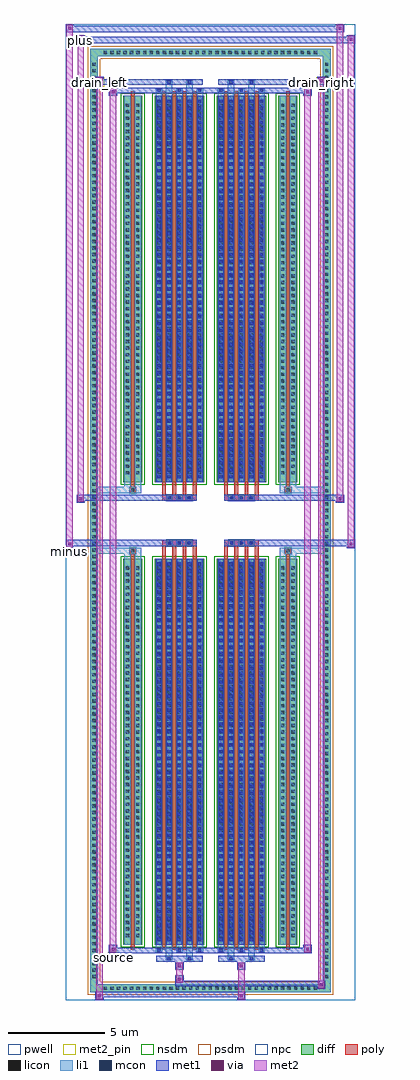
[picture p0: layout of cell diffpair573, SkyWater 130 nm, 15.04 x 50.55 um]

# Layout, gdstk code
import gdstk
lib = gdstk.Library(unit=1e-6, precision=5e-09)
def R(c, l, rs):  # rectangles x0, y0, x1, y1
    for r in rs: c.add(gdstk.rectangle(r[:2], r[2:], *l))
def A(c, l, x, y, w, h, nx, ny, dx, dy):  # array of equal rectangles
    R(c, l, [(x+i*dx, y+j*dy, x+i*dx+w, y+j*dy+h) for i in range(nx) for j in range(ny)])
def P(c, l, *ps):  # polygons
    for p in ps: c.add(gdstk.Polygon(p, *l))
pwell = (64, 44)
diff = (65, 20)
poly = (66, 20)
licon = (66, 44)
li1 = (67, 20)
mcon = (67, 44)
met1 = (68, 20)
via = (68, 44)
met2_pin = (69, 16)
met2 = (69, 20)
nsdm = (93, 44)
psdm = (94, 20)
npc = (95, 20)

diffpair573 = lib.new_cell('diffpair573')
R(diffpair573, pwell, [(-7.5,-24.84,7.5,25.71), (-4.82,-23.03,-0.01,-0.805), (0.01,-23.03,4.82,-0.805), (-4.82,0.805,-0.01,23.03), (0.01,0.805,4.82,23.03)])
A(diffpair573, diff, -5.645, -24.44, 0.41, 0.41, 33, 2, 0.34, 48.47)
A(diffpair573, diff, -6.23, -23.835, 0.41, 0.41, 1, 140, 0, 0.34)
A(diffpair573, diff, 5.82, -23.835, 0.41, 0.41, 1, 140, 0, 0.34)
R(diffpair573, diff, [(-5.645,-24.44,5.645,-24.03), (-6.23,-23.835,-5.82,23.835), (5.82,-23.835,6.23,23.835), (-4.51,-21.985,-3.53,-1.985), (-2.89,-21.985,-0.32,-1.985), (0.32,-21.985,2.89,-1.985), (3.53,-21.985,4.51,-1.985), (-4.51,1.985,-3.53,21.985), (-2.89,1.985,-0.32,21.985), (0.32,1.985,2.89,21.985), (3.53,1.985,4.51,21.985), (-5.645,24.03,5.645,24.44)])
P(diffpair573, diff, [(6.23,24.44),(-6.23,24.44),(-6.23,-24.03),(-5.82,-24.03),(-5.82,24.03),(5.82,24.03),(5.82,-24.03),(-5.82,-24.03),(-6.23,-24.03),(-6.23,-24.44),(6.23,-24.44)])
A(diffpair573, poly, -2.5, -22.235, 0.2, 20.5, 4, 2, 0.53, 23.97)
A(diffpair573, poly, 0.71, -22.235, 0.2, 20.5, 4, 2, 0.53, 23.97)
A(diffpair573, poly, -2.5, -1.735, 0.2, 0.4, 4, 2, 0.53, 3.07)
A(diffpair573, poly, 0.71, -1.735, 0.2, 0.4, 4, 2, 0.53, 3.07)
A(diffpair573, poly, -2.27, -1.335, 0.33, 0.33, 3, 2, 0.5, 2.34)
A(diffpair573, poly, 0.94, -1.335, 0.33, 0.33, 3, 2, 0.5, 2.34)
R(diffpair573, poly, [(-4.12,-22.235,-3.92,-1.735), (3.92,-22.235,4.12,-1.735), (-4.185,-1.735,-3.855,-1.405), (-4.185,-1.735,-3.855,-1.405), (3.855,-1.735,4.185,-1.405), (3.855,-1.735,4.185,-1.405), (-2.5,-1.335,-0.71,-1.005), (0.71,-1.335,2.5,-1.005), (-2.5,1.005,-0.71,1.335), (0.71,1.005,2.5,1.335), (-4.185,1.405,-3.855,1.735), (-4.185,1.405,-3.855,1.735), (3.855,1.405,4.185,1.735), (3.855,1.405,4.185,1.735), (-4.12,1.735,-3.92,22.235), (3.92,1.735,4.12,22.235)])
A(diffpair573, licon, -5.525, -24.32, 0.17, 0.17, 33, 2, 0.34, 48.47)
A(diffpair573, licon, -6.11, -23.715, 0.17, 0.17, 1, 140, 0, 0.34)
A(diffpair573, licon, 5.94, -23.715, 0.17, 0.17, 1, 140, 0, 0.34)
A(diffpair573, licon, -4.37, -21.59, 0.17, 0.17, 1, 57, 0, 0.34)
A(diffpair573, licon, -3.84, -21.59, 0.17, 0.17, 1, 57, 0, 0.34)
A(diffpair573, licon, -2.75, -21.59, 0.17, 0.17, 5, 57, 0.53, 0.34)
A(diffpair573, licon, 0.46, -21.59, 0.17, 0.17, 5, 57, 0.53, 0.34)
A(diffpair573, licon, 3.67, -21.59, 0.17, 0.17, 1, 57, 0, 0.34)
A(diffpair573, licon, 4.2, -21.59, 0.17, 0.17, 1, 57, 0, 0.34)
A(diffpair573, licon, -2.19, -1.255, 0.17, 0.17, 3, 2, 0.5, 2.34)
A(diffpair573, licon, 1.02, -1.255, 0.17, 0.17, 3, 2, 0.5, 2.34)
A(diffpair573, licon, -4.37, 2.38, 0.17, 0.17, 1, 57, 0, 0.34)
A(diffpair573, licon, -3.84, 2.38, 0.17, 0.17, 1, 57, 0, 0.34)
A(diffpair573, licon, -2.75, 2.38, 0.17, 0.17, 5, 57, 0.53, 0.34)
A(diffpair573, licon, 0.46, 2.38, 0.17, 0.17, 5, 57, 0.53, 0.34)
A(diffpair573, licon, 3.67, 2.38, 0.17, 0.17, 1, 57, 0, 0.34)
A(diffpair573, licon, 4.2, 2.38, 0.17, 0.17, 1, 57, 0, 0.34)
R(diffpair573, licon, [(-4.105,-1.655,-3.935,-1.485), (3.935,-1.655,4.105,-1.485), (-4.105,1.485,-3.935,1.655), (3.935,1.485,4.105,1.655)])
A(diffpair573, li1, -5.605, -24.4, 0.33, 0.33, 33, 2, 0.34, 48.47)
A(diffpair573, li1, -6.19, -23.795, 0.33, 0.33, 1, 140, 0, 0.34)
A(diffpair573, li1, 5.86, -23.795, 0.33, 0.33, 1, 140, 0, 0.34)
A(diffpair573, li1, -2.83, -22.36, 0.33, 0.375, 3, 2, 1.06, 44.345)
A(diffpair573, li1, -2.75, -22.36, 0.17, 0.17, 3, 2, 1.06, 44.55)
A(diffpair573, li1, 0.38, -22.36, 0.33, 0.375, 3, 2, 1.06, 44.345)
A(diffpair573, li1, 0.46, -22.36, 0.17, 0.17, 3, 2, 1.06, 44.55)
A(diffpair573, li1, -2.83, -21.985, 0.33, 20, 5, 2, 0.53, 23.97)
A(diffpair573, li1, 0.38, -21.985, 0.33, 20, 5, 2, 0.53, 23.97)
A(diffpair573, li1, -2.75, -21.79, 0.17, 0.17, 5, 55, 0.53, 0.36)
A(diffpair573, li1, -2.75, -21.79, 0.17, 19.61, 5, 2, 0.53, 23.97)
A(diffpair573, li1, 0.46, -21.79, 0.17, 0.17, 5, 55, 0.53, 0.36)
A(diffpair573, li1, 0.46, -21.79, 0.17, 19.61, 5, 2, 0.53, 23.97)
A(diffpair573, li1, -4.45, -21.67, 0.33, 0.33, 1, 57, 0, 0.34)
A(diffpair573, li1, -3.92, -21.67, 0.33, 0.33, 1, 57, 0, 0.34)
A(diffpair573, li1, -2.83, -21.67, 0.33, 0.33, 5, 57, 0.53, 0.34)
A(diffpair573, li1, 0.38, -21.67, 0.33, 0.33, 5, 57, 0.53, 0.34)
A(diffpair573, li1, 3.59, -21.67, 0.33, 0.33, 1, 57, 0, 0.34)
A(diffpair573, li1, 4.12, -21.67, 0.33, 0.33, 1, 57, 0, 0.34)
A(diffpair573, li1, -2.27, -1.335, 0.33, 0.33, 3, 2, 0.5, 2.34)
A(diffpair573, li1, 0.94, -1.335, 0.33, 0.33, 3, 2, 0.5, 2.34)
A(diffpair573, li1, -2.75, 2.18, 0.17, 0.17, 5, 55, 0.53, 0.36)
A(diffpair573, li1, 0.46, 2.18, 0.17, 0.17, 5, 55, 0.53, 0.36)
A(diffpair573, li1, -4.45, 2.3, 0.33, 0.33, 1, 57, 0, 0.34)
A(diffpair573, li1, -3.92, 2.3, 0.33, 0.33, 1, 57, 0, 0.34)
A(diffpair573, li1, -2.83, 2.3, 0.33, 0.33, 5, 57, 0.53, 0.34)
A(diffpair573, li1, 0.38, 2.3, 0.33, 0.33, 5, 57, 0.53, 0.34)
A(diffpair573, li1, 3.59, 2.3, 0.33, 0.33, 1, 57, 0, 0.34)
A(diffpair573, li1, 4.12, 2.3, 0.33, 0.33, 1, 57, 0, 0.34)
R(diffpair573, li1, [(-6.23,-24.44,-5.82,-24.03), (-6.23,-24.44,-5.82,-24.03), (-5.82,-24.44,5.82,-24.03), (5.82,-24.44,6.23,-24.03), (5.82,-24.44,6.23,-24.03), (-6.23,-24.03,-5.82,24.03), (5.82,-24.03,6.23,24.03), (-2.3,-22.79,-1.97,-21.985), (-2.22,-22.79,-2.05,-22.62), (-1.24,-22.79,-0.91,-21.985), (-1.16,-22.79,-0.99,-22.62), (0.91,-22.79,1.24,-21.985), (0.99,-22.79,1.16,-22.62), (1.97,-22.79,2.3,-21.985), (2.05,-22.79,2.22,-22.62), (-4.45,-21.985,-4.12,-1.985), (-3.92,-21.985,-3.59,-1.985), (3.59,-21.985,3.92,-1.985), (4.12,-21.985,4.45,-1.985), (-4.45,-1.985,-4.12,-1.405), (-3.92,-1.985,-3.59,-1.405), (3.59,-1.985,3.92,-1.405), (4.12,-1.985,4.45,-1.405), (-6.23,-1.735,-4.185,-1.405), (-4.45,-1.735,-4.185,-1.405), (-4.185,-1.735,-3.855,-1.405), (-3.855,-1.735,-3.59,-1.405), (3.59,-1.735,3.855,-1.405), (3.855,-1.735,4.185,-1.405), (3.855,-1.735,6.23,-1.405), (4.185,-1.735,4.45,-1.405), (-6.23,1.405,-4.185,1.735), (-4.45,1.405,-4.185,1.735), (-4.45,1.405,-4.12,1.985), (-4.185,1.405,-3.855,1.735), (-3.92,1.405,-3.59,1.985), (-3.855,1.405,-3.59,1.735), (3.59,1.405,3.855,1.735), (3.59,1.405,3.92,1.985), (3.855,1.405,4.185,1.735), (3.855,1.405,6.23,1.735), (4.12,1.405,4.45,1.985), (4.185,1.405,4.45,1.735), (-4.45,1.985,-4.12,21.985), (-3.92,1.985,-3.59,21.985), (3.59,1.985,3.92,21.985), (4.12,1.985,4.45,21.985), (-2.3,21.985,-1.97,22.79), (-1.24,21.985,-0.91,22.79), (0.91,21.985,1.24,22.79), (1.97,21.985,2.3,22.79), (-2.22,22.62,-2.05,22.79), (-1.16,22.62,-0.99,22.79), (0.99,22.62,1.16,22.79), (2.05,22.62,2.22,22.79), (-6.23,24.03,-5.82,24.44), (-6.23,24.03,-5.82,24.44), (-5.82,24.03,5.82,24.44), (5.82,24.03,6.23,24.44), (5.82,24.03,6.23,24.44)])
A(diffpair573, mcon, -2.75, -22.36, 0.17, 0.17, 3, 2, 1.06, 44.55)
A(diffpair573, mcon, 0.46, -22.36, 0.17, 0.17, 3, 2, 1.06, 44.55)
A(diffpair573, mcon, -2.75, -21.79, 0.17, 0.17, 5, 55, 0.53, 0.36)
A(diffpair573, mcon, 0.46, -21.79, 0.17, 0.17, 5, 55, 0.53, 0.36)
A(diffpair573, mcon, -2.19, -1.255, 0.17, 0.17, 3, 2, 0.5, 2.34)
A(diffpair573, mcon, 1.02, -1.255, 0.17, 0.17, 3, 2, 0.5, 2.34)
A(diffpair573, mcon, -2.75, 2.18, 0.17, 0.17, 5, 55, 0.53, 0.36)
A(diffpair573, mcon, 0.46, 2.18, 0.17, 0.17, 5, 55, 0.53, 0.36)
R(diffpair573, mcon, [(-2.22,-22.79,-2.05,-22.62), (-1.16,-22.79,-0.99,-22.62), (0.99,-22.79,1.16,-22.62), (2.05,-22.79,2.22,-22.62), (-2.22,22.62,-2.05,22.79), (-1.16,22.62,-0.99,22.79), (0.99,22.62,1.16,22.79), (2.05,22.62,2.22,22.79)])
A(diffpair573, met1, -2.81, -22.42, 0.29, 0.29, 3, 2, 1.06, 44.55)
A(diffpair573, met1, 0.4, -22.42, 0.29, 0.29, 3, 2, 1.06, 44.55)
A(diffpair573, met1, -2.81, -21.985, 0.29, 20, 5, 2, 0.53, 23.97)
A(diffpair573, met1, 0.4, -21.985, 0.29, 20, 5, 2, 0.53, 23.97)
A(diffpair573, met1, -2.81, -21.85, 0.29, 0.29, 5, 55, 0.53, 0.36)
A(diffpair573, met1, 0.4, -21.85, 0.29, 0.29, 5, 55, 0.53, 0.36)
A(diffpair573, met1, -2.25, -1.315, 0.29, 0.29, 3, 2, 0.5, 2.34)
A(diffpair573, met1, 0.96, -1.315, 0.29, 0.29, 3, 2, 0.5, 2.34)
A(diffpair573, met1, -2.81, 2.12, 0.29, 0.29, 5, 55, 0.53, 0.36)
A(diffpair573, met1, 0.4, 2.12, 0.29, 0.29, 5, 55, 0.53, 0.36)
R(diffpair573, met1, [(-5.96,-24.84,-5.53,-24.41), (1.39,-24.84,1.82,-24.41), (-5.96,-24.7,1.82,-24.41), (5.53,-24.27,5.96,-23.84), (-1.82,-24.13,5.96,-23.84), (-1.82,-23.99,-1.39,-23.56), (-1.82,-23.28,-1.39,-22.85), (1.39,-23.28,1.82,-22.85), (-2.81,-22.85,-0.4,-22.56), (-2.28,-22.85,-1.99,-22.56), (-1.22,-22.85,-0.93,-22.56), (0.4,-22.85,2.81,-22.56), (0.93,-22.85,1.22,-22.56), (1.99,-22.85,2.28,-22.56), (-5.25,-22.42,-4.82,-21.99), (-5.25,-22.42,-2.81,-22.13), (-2.81,-22.42,-0.4,-22.13), (-0.4,-22.42,0.4,-22.13), (0.4,-22.42,2.81,-22.13), (2.81,-22.42,5.25,-22.13), (4.82,-22.42,5.25,-21.99), (-7.5,-1.435,-7.07,-1.005), (7.07,-1.435,7.5,-1.005), (-7.5,-1.335,-0.71,-1.005), (-2.5,-1.335,-0.71,-1.005), (0.71,-1.335,2.5,-1.005), (0.71,-1.335,7.5,-1.005), (-6.93,0.905,-6.5,1.335), (6.5,0.905,6.93,1.335), (-6.93,1.005,-2.5,1.335), (-2.5,1.005,-0.71,1.335), (0.71,1.005,2.5,1.335), (2.5,1.005,6.93,1.335), (-5.25,21.99,-4.82,22.42), (4.82,21.99,5.25,22.42), (-5.25,22.13,-2.81,22.42), (-2.81,22.13,-0.4,22.42), (-0.4,22.13,0.4,22.42), (0.4,22.13,2.81,22.42), (2.81,22.13,5.25,22.42), (-5.96,22.56,-5.53,22.99), (-5.96,22.56,-2.81,22.85), (-2.81,22.56,-0.4,22.85), (-2.28,22.56,-1.99,22.85), (-1.22,22.56,-0.93,22.85), (0.4,22.56,2.81,22.85), (0.93,22.56,1.22,22.85), (1.99,22.56,2.28,22.85), (2.81,22.56,5.96,22.85), (5.53,22.56,5.96,22.99), (-6.93,24.71,-6.5,25.14), (-6.93,24.71,-4.82,25.04), (-4.82,24.71,4.82,25.04), (4.82,24.71,7.5,25.04), (7.07,24.71,7.5,25.14), (-7.5,25.28,-7.07,25.71), (-7.5,25.28,-4.82,25.61), (-4.82,25.28,4.82,25.61), (4.82,25.28,6.93,25.61), (6.5,25.28,6.93,25.71)])
R(diffpair573, via, [(-5.82,-24.7,-5.67,-24.55), (1.53,-24.7,1.68,-24.55), (5.67,-24.13,5.82,-23.98), (-1.68,-23.85,-1.53,-23.7), (-1.68,-23.14,-1.53,-22.99), (1.53,-23.14,1.68,-22.99), (-5.11,-22.28,-4.96,-22.13), (4.96,-22.28,5.11,-22.13), (-7.36,-1.295,-7.21,-1.145), (7.21,-1.295,7.36,-1.145), (-6.79,1.045,-6.64,1.195), (6.64,1.045,6.79,1.195), (-5.11,22.13,-4.96,22.28), (4.96,22.13,5.11,22.28), (-5.82,22.7,-5.67,22.85), (5.67,22.7,5.82,22.85), (-6.79,24.85,-6.64,25), (7.21,24.85,7.36,25), (-7.36,25.42,-7.21,25.57), (6.64,25.42,6.79,25.57)])
R(diffpair573, met2_pin, [(-5.285,-22.87,-4.785,-22.37), (-7.535,-1.885,-7.035,-1.385), (-5.995,22.44,-5.495,22.94), (5.495,22.44,5.995,22.94), (-6.965,24.59,-6.465,25.09)])
R(diffpair573, met2, [(-5.91,-24.79,-5.58,-24.46), (-5.91,-24.79,-5.58,22.94), (1.44,-24.79,1.77,-24.46), (1.44,-24.46,1.77,-23.23), (5.58,-24.22,5.91,-23.89), (5.58,-24.22,5.91,22.94), (-1.77,-23.94,-1.44,-23.61), (-1.77,-23.61,-1.44,-23.23), (-1.77,-23.23,-1.44,-22.9), (1.44,-23.23,1.77,-22.9), (-5.2,-22.37,-4.87,-22.04), (-5.2,-22.37,-4.87,22.37), (4.87,-22.37,5.2,-22.04), (4.87,-22.37,5.2,22.37), (-7.45,-1.385,-7.12,-1.055), (-7.45,-1.385,-7.12,25.66), (7.12,-1.385,7.45,-1.055), (7.12,-1.385,7.45,25.09), (-6.88,0.955,-6.55,1.285), (-6.88,0.955,-6.55,25.09), (6.55,0.955,6.88,1.285), (6.55,0.955,6.88,25.66), (-5.2,22.04,-4.87,22.37), (4.87,22.04,5.2,22.37), (-5.91,22.61,-5.58,22.94), (5.58,22.61,5.91,22.94), (-6.88,24.76,-6.55,25.09), (7.12,24.76,7.45,25.09), (-7.45,25.33,-7.12,25.66), (6.55,25.33,6.88,25.66)])
P(diffpair573, met2, [(7.45,-1.385),(7.45,-1.385),(7.45,-1.055),(7.45,-1.055)],
  [(7.45,24.76),(7.45,24.76),(7.45,25.09),(7.45,25.09)],
  [(-7.12,-1.385),(-7.12,-1.385),(-7.12,-1.055),(-7.12,-1.055)],
  [(-7.12,25.33),(-7.12,25.33),(-7.12,25.66),(-7.12,25.66)],
  [(6.88,0.955),(6.88,0.955),(6.88,1.285),(6.88,1.285)],
  [(6.88,25.33),(6.88,25.33),(6.88,25.66),(6.88,25.66)],
  [(-6.55,0.955),(-6.55,0.955),(-6.55,1.285),(-6.55,1.285)],
  [(-6.55,24.76),(-6.55,24.76),(-6.55,25.09),(-6.55,25.09)],
  [(-5.58,-24.79),(-5.58,-24.79),(-5.58,-24.46),(-5.58,-24.46)],
  [(-5.58,22.61),(-5.58,22.61),(-5.58,22.94),(-5.58,22.94)],
  [(5.91,-24.22),(5.91,-24.22),(5.91,-23.89),(5.91,-23.89)],
  [(5.91,22.61),(5.91,22.61),(5.91,22.94),(5.91,22.94)],
  [(-4.87,-22.37),(-4.87,-22.37),(-4.87,-22.04),(-4.87,-22.04)],
  [(-4.87,22.04),(-4.87,22.04),(-4.87,22.37),(-4.87,22.37)],
  [(5.2,-22.37),(5.2,-22.37),(5.2,-22.04),(5.2,-22.04)],
  [(5.2,22.04),(5.2,22.04),(5.2,22.37),(5.2,22.37)])
R(diffpair573, nsdm, [(-4.64,-22.115,-3.4,-1.855), (-3.02,-22.115,-0.19,-1.855), (0.19,-22.115,3.02,-1.855), (3.4,-22.115,4.64,-1.855), (-4.64,1.855,-3.4,22.115), (-3.02,1.855,-0.19,22.115), (0.19,1.855,3.02,22.115), (3.4,1.855,4.64,22.115)])
P(diffpair573, psdm, [(6.36,24.57),(-6.36,24.57),(-6.36,-23.9),(-5.69,-23.9),(-5.69,23.9),(5.69,23.9),(5.69,-23.9),(-5.69,-23.9),(-6.36,-23.9),(-6.36,-24.57),(6.36,-24.57)])
A(diffpair573, npc, -2.29, -1.355, 0.37, 0.37, 3, 2, 0.5, 2.34)
A(diffpair573, npc, 0.92, -1.355, 0.37, 0.37, 3, 2, 0.5, 2.34)
R(diffpair573, npc, [(-4.205,-1.755,-3.835,-1.385), (3.835,-1.755,4.205,-1.385), (-2.29,-1.355,-1.42,-0.985), (-2.29,-1.355,-1.42,-0.985), (-1.79,-1.355,-0.92,-0.985), (-1.79,-1.355,-0.92,-0.985), (0.92,-1.355,1.79,-0.985), (0.92,-1.355,1.79,-0.985), (1.42,-1.355,2.29,-0.985), (1.42,-1.355,2.29,-0.985), (-2.29,0.985,-1.42,1.355), (-2.29,0.985,-1.42,1.355), (-1.79,0.985,-0.92,1.355), (-1.79,0.985,-0.92,1.355), (0.92,0.985,1.79,1.355), (0.92,0.985,1.79,1.355), (1.42,0.985,2.29,1.355), (1.42,0.985,2.29,1.355), (-4.205,1.385,-3.835,1.755), (3.835,1.385,4.205,1.755)])
diffpair573.add(gdstk.Label('minus', (-7.285,-1.635), layer=69, texttype=5))
diffpair573.add(gdstk.Label('drain_right', (5.745,22.69), layer=69, texttype=5))
diffpair573.add(gdstk.Label('drain_left', (-5.745,22.69), layer=69, texttype=5))
diffpair573.add(gdstk.Label('source', (-5.035,-22.62), layer=69, texttype=5))
diffpair573.add(gdstk.Label('plus', (-6.715,24.84), layer=69, texttype=5))

lib.write_gds('diffpair573.gds')
